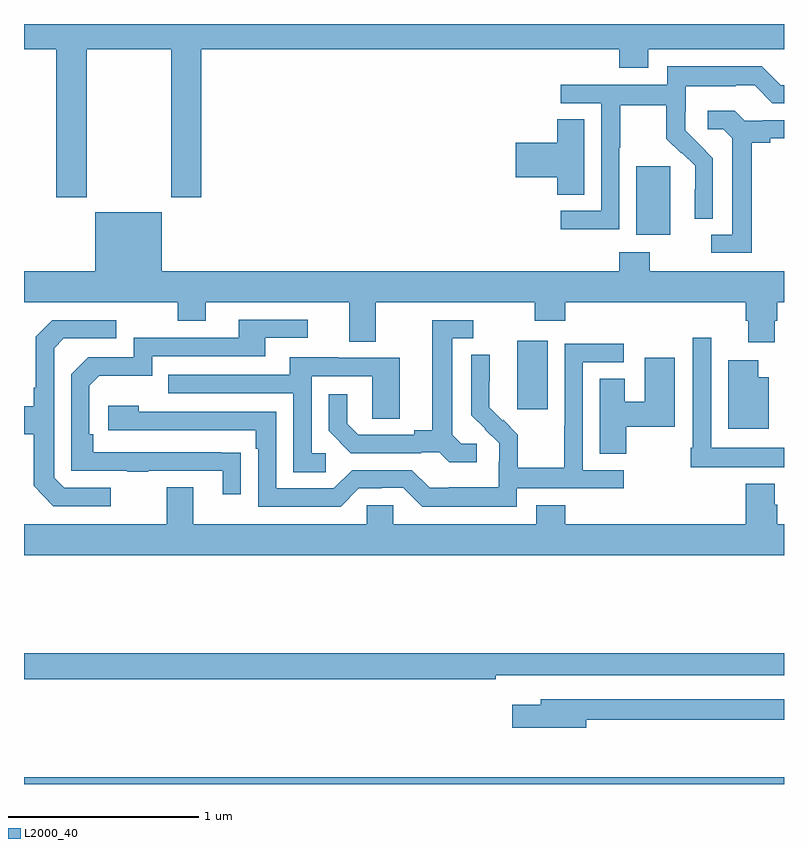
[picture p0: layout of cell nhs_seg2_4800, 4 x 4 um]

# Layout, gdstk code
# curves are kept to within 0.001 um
import gdstk
lib = gdstk.Library(unit=1e-6, precision=1e-09)
def R(c, l, rs):  # rectangles x0, y0, x1, y1
    for r in rs: c.add(gdstk.rectangle(r[:2], r[2:], *l))
def P(c, l, *ps):  # polygons
    for p in ps: c.add(gdstk.Polygon(p, *l))
L2000_40 = (2000, 40)

nhs_seg2_4800 = lib.new_cell('nhs_seg2_4800')
R(nhs_seg2_4800, L2000_40, [(373,611.8,377,611.836), (375.596,613.773,375.757,614.134), (376.223,614.69,376.402,615.051)])
P(nhs_seg2_4800, L2000_40, [(373.329,615.668),(373.774,615.668),(373.774,614.889),(373.934,614.889),(373.934,615.668),(376.133,615.668),(376.133,615.569),(376.285,615.569),(376.285,615.668),(377,615.668),(377,615.8),(373,615.8),(373,615.668),(373.169,615.668),(373.169,614.889),(373.329,614.889)],
  [(376.134,615.148),(376.137,615.148),(376.137,615.372),(376.381,615.372),(376.381,615.197),(376.458,615.12),(376.461,615.123),(376.532,615.053),(376.532,614.93),(376.53,614.93),(376.53,614.776),(376.626,614.776),(376.626,615.094),(376.48,615.242),(376.48,615.339),(376.482,615.339),(376.482,615.473),(376.745,615.473),(376.745,615.477),(376.845,615.477),(376.938,615.384),(377,615.384),(377,615.477),(376.983,615.477),(376.883,615.577),(376.386,615.577),(376.386,615.48),(375.825,615.48),(375.825,615.384),(376.038,615.384),(376.038,614.817),(375.825,614.817),(375.825,614.719),(376.134,614.719)],
  [(376.831,615.176),(376.927,615.176),(376.927,615.198),(377,615.198),(377,615.294),(376.888,615.294),(376.888,615.291),(376.794,615.291),(376.742,615.343),(376.599,615.343),(376.599,615.246),(376.68,615.246),(376.727,615.199),(376.727,614.691),(376.617,614.691),(376.617,614.595),(376.831,614.595)],
  [(375.949,615.299),(375.806,615.299),(375.806,615.176),(375.588,615.176),(375.588,614.993),(375.806,614.993),(375.806,614.902),(375.949,614.902)],
  [(376.951,614.238),(376.964,614.238),(376.964,614.336),(377,614.336),(377,614.5),(376.293,614.5),(376.293,614.599),(376.133,614.599),(376.133,614.5),(373.726,614.5),(373.726,614.809),(373.376,614.809),(373.376,614.5),(373,614.5),(373,614.336),(373.81,614.336),(373.81,614.237),(373.957,614.237),(373.957,614.336),(374.711,614.336),(374.711,614.128),(374.851,614.128),(374.851,614.336),(375.688,614.336),(375.688,614.237),(375.848,614.237),(375.848,614.336),(376.799,614.336),(376.799,614.238),(376.811,614.238),(376.811,614.124),(376.951,614.124)],
  [(374.141,613.544),(373.364,613.545),(373.364,613.642),(373.344,613.642),(373.344,613.896),(373.397,613.949),(373.674,613.949),(373.674,614.052),(374.269,614.052),(374.269,614.148),(374.494,614.148),(374.494,614.244),(374.129,614.244),(374.129,614.148),(373.578,614.148),(373.578,614.046),(373.338,614.046),(373.248,613.956),(373.248,613.449),(373.543,613.449),(373.543,613.444),(373.655,613.444),(373.655,613.449),(374.045,613.449),(374.045,613.326),(374.141,613.326)],
  [(373.456,613.359),(373.212,613.359),(373.158,613.413),(373.158,614.094),(373.209,614.145),(373.486,614.145),(373.486,614.241),(373.149,614.241),(373.062,614.154),(373.062,613.885),(373.05,613.885),(373.05,613.789),(373,613.789),(373,613.642),(373.05,613.642),(373.05,613.369),(373.155,613.263),(373.456,613.263)],
  [(375.382,613.59),(375.3,613.59),(375.253,613.637),(375.253,614.145),(375.364,614.145),(375.364,614.241),(375.149,614.241),(375.149,613.661),(375.053,613.661),(375.053,613.638),(374.758,613.638),(374.701,613.695),(374.701,613.852),(374.604,613.852),(374.604,613.658),(374.72,613.542),(375.092,613.542),(375.092,613.545),(375.186,613.545),(375.238,613.493),(375.382,613.493)],
  [(377,613.57),(376.617,613.57),(376.617,614.149),(376.521,614.149),(376.521,613.57),(376.509,613.57),(376.509,613.466),(377,613.466)],
  [(375.594,613.356),(376.156,613.356),(376.156,613.452),(375.942,613.452),(375.942,614.019),(376.156,614.019),(376.156,614.118),(375.846,614.118),(375.846,613.685),(375.844,613.685),(375.844,613.465),(375.599,613.465),(375.599,613.639),(375.522,613.716),(375.519,613.713),(375.449,613.784),(375.449,613.919),(375.451,613.919),(375.451,614.06),(375.354,614.06),(375.354,613.742),(375.5,613.594),(375.5,613.497),(375.498,613.497),(375.498,613.363),(375.235,613.363),(375.235,613.359),(375.135,613.359),(375.042,613.452),(374.727,613.452),(374.631,613.356),(374.328,613.356),(374.328,613.758),(373.604,613.758),(373.604,613.792),(373.443,613.792),(373.443,613.662),(374.219,613.662),(374.219,613.565),(374.232,613.565),(374.232,613.26),(374.667,613.26),(374.763,613.356),(374.882,613.356),(374.882,613.359),(374.997,613.359),(375.097,613.259),(375.594,613.259)],
  [(374.587,613.542),(374.514,613.542),(374.514,613.947),(374.832,613.947),(374.832,613.723),(374.977,613.723),(374.977,614.043),(374.653,614.043),(374.653,614.047),(374.399,614.047),(374.399,613.953),(373.759,613.953),(373.759,613.857),(374.418,613.857),(374.418,613.441),(374.587,613.441)],
  [(376.17,613.679),(376.426,613.679),(376.426,614.044),(376.268,614.044),(376.268,613.813),(376.162,613.813),(376.162,613.934),(376.031,613.934),(376.031,613.537),(376.17,613.537)],
  [(376.921,613.942),(376.864,613.942),(376.864,614.029),(376.706,614.029),(376.706,613.67),(376.921,613.67)],
  [(377,613.168),(376.964,613.168),(376.964,613.269),(376.951,613.269),(376.951,613.381),(376.799,613.381),(376.799,613.168),(375.848,613.168),(375.848,613.267),(375.695,613.267),(375.695,613.168),(374.943,613.168),(374.943,613.266),(374.805,613.266),(374.805,613.168),(373.891,613.168),(373.891,613.363),(373.751,613.363),(373.751,613.168),(373,613.168),(373,613.004),(377,613.004)],
  [(375.482,612.372),(377,612.372),(377,612.488),(373,612.488),(373,612.352),(375.482,612.352)],
  [(375.958,612.138),(377,612.138),(377,612.246),(375.719,612.246),(375.719,612.217),(375.57,612.217),(375.57,612.095),(375.958,612.095)])

lib.write_gds('nhs_seg2_4800.gds')
